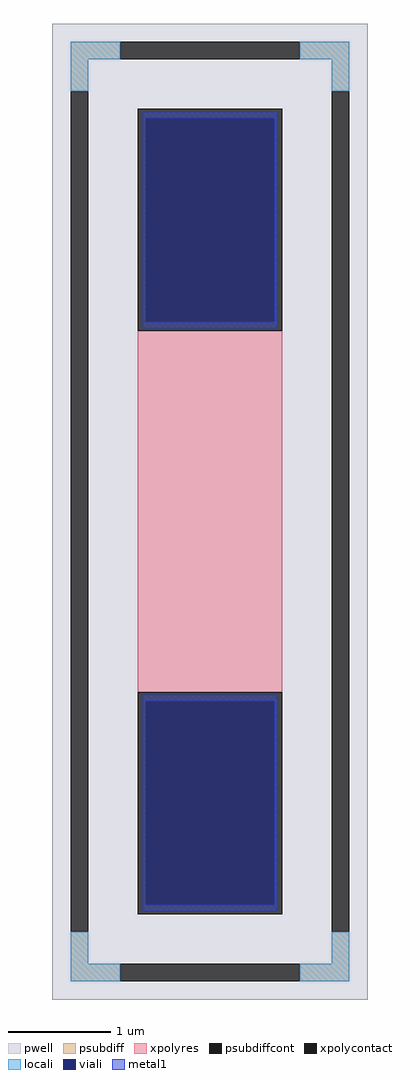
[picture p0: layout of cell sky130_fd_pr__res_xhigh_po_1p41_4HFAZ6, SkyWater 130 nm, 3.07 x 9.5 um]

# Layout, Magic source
magic
tech sky130A
magscale 1 2
<< pwell >>
rect -307 -950 307 950
<< psubdiff >>
rect -271 880 -175 914
rect 175 880 271 914
rect -271 818 -237 880
rect 237 818 271 880
rect -271 -880 -237 -818
rect 237 -880 271 -818
rect -271 -914 -175 -880
rect 175 -914 271 -880
<< psubdiffcont >>
rect -175 880 175 914
rect -271 -818 -237 818
rect 237 -818 271 818
rect -175 -914 175 -880
<< xpolycontact >>
rect -141 352 141 784
rect -141 -784 141 -352
<< xpolyres >>
rect -141 -352 141 352
<< locali >>
rect -271 880 -175 914
rect 175 880 271 914
rect -271 818 -237 880
rect 237 818 271 880
rect -271 -880 -237 -818
rect 237 -880 271 -818
rect -271 -914 -175 -880
rect 175 -914 271 -880
<< viali >>
rect -125 369 125 766
rect -125 -766 125 -369
<< metal1 >>
rect -131 766 131 778
rect -131 369 -125 766
rect 125 369 131 766
rect -131 357 131 369
rect -131 -369 131 -357
rect -131 -766 -125 -369
rect 125 -766 131 -369
rect -131 -778 131 -766
<< properties >>
string FIXED_BBOX -254 -897 254 897
string gencell sky130_fd_pr__res_xhigh_po_1p41
string library sky130
string parameters w 1.410 l 3.68 m 1 nx 1 wmin 1.410 lmin 0.50 rho 2000 val 5.486k dummy 0 dw 0.0 term 188.2 sterm 0.0 caplen 0 wmax 1.410 guard 1 glc 1 grc 1 gtc 1 gbc 1 compatible {sky130_fd_pr__res_xhigh_po_0p35  sky130_fd_pr__res_xhigh_po_0p69 sky130_fd_pr__res_xhigh_po_1p41  sky130_fd_pr__res_xhigh_po_2p85 sky130_fd_pr__res_xhigh_po_5p73} snake 0 full_metal 1 n_guard 0 hv_guard 0 vias 1 viagb 0 viagt 0 viagl 0 viagr 0
<< end >>
